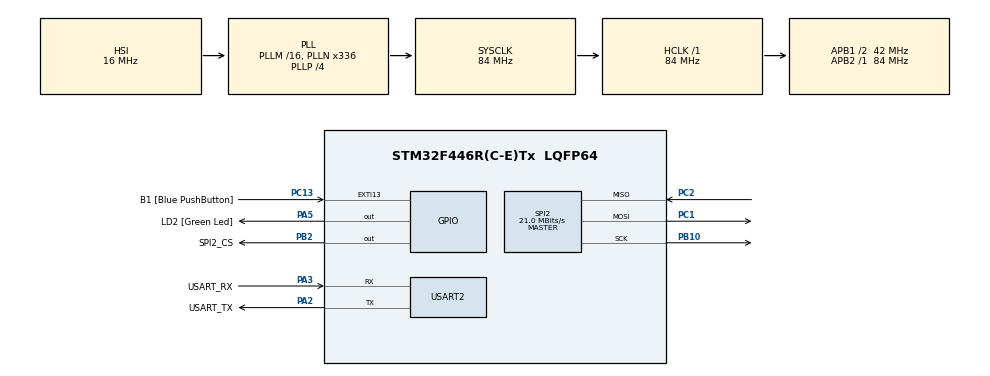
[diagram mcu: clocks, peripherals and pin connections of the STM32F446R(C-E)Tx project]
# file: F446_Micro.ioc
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Mcu.Family=STM32F4
Mcu.Name=STM32F446R(C-E)Tx
Mcu.Package=LQFP64
NVIC.PriorityGroup=NVIC_PRIORITYGROUP_0
NVIC.TIM1_UP_TIM10_IRQn=true\:0\:0\:false\:false\:true\:true\:true
PA13.GPIO_Label=TMS
PA13.Mode=Serial_Wire
PA13.Signal=SYS_JTMS-SWDIO
PA14.GPIO_Label=TCK
PA14.Mode=Serial_Wire
PA14.Signal=SYS_JTCK-SWCLK
PA2.GPIO_Label=USART_TX
PA2.Mode=Asynchronous
PA2.Signal=USART2_TX
PA3.GPIO_Label=USART_RX
PA3.Mode=Asynchronous
PA3.Signal=USART2_RX
PA5.GPIO_Label=LD2 [Green Led]
PA5.Signal=GPIO_Output
PB10.Mode=Full_Duplex_Master
PB10.Signal=SPI2_SCK
PB2.GPIO_Label=SPI2_CS
PB2.PinState=GPIO_PIN_SET
PB2.Signal=GPIO_Output
PB3.GPIO_Label=SWO
PB3.Signal=SYS_JTDO-SWO
PC1.Mode=Full_Duplex_Master
PC1.Signal=SPI2_MOSI
PC13.GPIO_Label=B1 [Blue PushButton]
PC13.GPIO_ModeDefaultEXTI=GPIO_MODE_IT_FALLING
PC13.Signal=GPXTI13
PC14-OSC32_IN.Mode=LSE-External-Oscillator
PC14-OSC32_IN.Signal=RCC_OSC32_IN
PC15-OSC32_OUT.Mode=LSE-External-Oscillator
PC15-OSC32_OUT.Signal=RCC_OSC32_OUT
PC2.GPIO_PuPd=GPIO_PULLUP
PC2.Mode=Full_Duplex_Master
PC2.Signal=SPI2_MISO
PH0-OSC_IN.Mode=HSE-External-Oscillator
PH0-OSC_IN.Signal=RCC_OSC_IN
PH1-OSC_OUT.Mode=HSE-External-Oscillator
PH1-OSC_OUT.Signal=RCC_OSC_OUT
ProjectManager.HeapSize=0x200
ProjectManager.StackSize=0x400
ProjectManager.TargetToolchain=STM32CubeIDE
RCC.48MHZClocksFreq_Value=84000000
RCC.AHBFreq_Value=84000000
RCC.APB1CLKDivider=RCC_HCLK_DIV2
RCC.APB1Freq_Value=42000000
RCC.APB1TimFreq_Value=84000000
RCC.APB2Freq_Value=84000000
RCC.APB2TimFreq_Value=84000000
RCC.CortexFreq_Value=84000000
RCC.FLatency-AdvancedSettings=FLASH_LATENCY_2
RCC.HCLKFreq_Value=84000000
RCC.HSE_VALUE=8000000
RCC.HSI_VALUE=16000000
RCC.PLLN=336
RCC.PLLP=RCC_PLLP_DIV4
RCC.SYSCLKFreq_VALUE=84000000
RCC.SYSCLKSource=RCC_SYSCLKSOURCE_PLLCLK
RCC.USBFreq_Value=168000000
RCC.VCOOutputFreq_Value=336000000
SPI2.CalculateBaudRate=21.0 MBits/s
SPI2.Direction=SPI_DIRECTION_2LINES
SPI2.Mode=SPI_MODE_MASTER
SPI2.VirtualType=VM_MASTER
TIM1.Period=42000
TIM1.Prescaler=9
TIM1.TIM_MasterOutputTrigger=TIM_TRGO_UPDATE
USART2.VirtualMode=VM_ASYNC
VP_TIM1_VS_ClockSourceINT.Mode=Internal
board=NUCLEO-F446RE

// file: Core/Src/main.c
/* USER CODE BEGIN Header */
/**
  ******************************************************************************
  * @file           : main.c
  * @brief          : Main program body
  ******************************************************************************
  * @attention
  *
  * <h2><center>&copy; Copyright (c) 2023 STMicroelectronics.
  * All rights reserved.</center></h2>
  *
  * This software component is licensed by ST under BSD 3-Clause license,
  * the "License"; You may not use this file except in compliance with the
  * License. You may obtain a copy of the License at:
  *                        opensource.org/licenses/BSD-3-Clause
  *
  ******************************************************************************
  */
/* USER CODE END Header */
#include "main.h"

SPI_HandleTypeDef hspi2;

TIM_HandleTypeDef htim1;

UART_HandleTypeDef huart2;

/* USER CODE BEGIN PV */
char formBuf[13];

#define RECV_BUFF_SIZE 80
static char recv_buf[RECV_BUFF_SIZE];

volatile 	int 		Sys_Tick;
char 		*RcvPtr;

uint8_t		sbuf[300], rbuf[300];

/* USER CODE END PV */

void SystemClock_Config(void);
static void MX_GPIO_Init(void);
static void MX_USART2_UART_Init(void);
static void MX_SPI2_Init(void);
static void MX_TIM1_Init(void);

/* USER CODE BEGIN 0 */
uint8_t uartGetchnw(){
  unsigned char c;
  HAL_StatusTypeDef stat;

	stat = HAL_UART_Receive(&huart2, &c, 1, 1);
	if (stat == HAL_OK)
		return c;
	else
		return 0;
}
uint8_t uartGetch(){
	unsigned char c;

	c = 0;
	while (c == 0){
//		if (HAL_GPIO_ReadPin(GPIOA, GPIO_PIN_3)== 0){
//			recv_buf[0]	='S';
//			recv_buf[1]	='X';
//			RcvPtr	= &recv_buf[2];
//			c = 0x0d;
//		}
//		else
			c = uartGetchnw();
	}

	return c;
}
void uartPutch(uint8_t *c){
	  HAL_UART_Transmit( &huart2, c, 1, 100000);
}

void uartPuts( char *s){
	int		num;
	char	*cptr;

	num		= 0;
	cptr	= s;

	while(*cptr != 0){
		cptr++;
		num ++;
	}
	HAL_UART_Transmit( &huart2, (unsigned char *)s, num , 100000);
}

char *formHex(uint32_t n, int dig) {
	static const char hex[] = {
		'0', '1', '2', '3', '4', '5', '6', '7',
		'8', '9', 'A', 'B', 'C', 'D', 'E', 'F'
	};

	formBuf[dig--] = '\0';
	while (dig >= 0) {
		formBuf[dig--] = hex[n &  0xf];
		n >>= 4;
	}
	return formBuf;
}
char		ToUpper(char cc)
{
	char res;

	if ('a'<=cc && cc<='z')
		res = cc + 'A'- 'a';
	else
		res = cc;

	return res;
}

int		Asc2Bin(char cc)
{
	int		ret;

	if(('0' <= cc) && (cc <= '9'))
		ret	= cc - '0';
	else if (('A' <= cc) && (cc <= 'F'))
		ret	= cc - 'A' + 10;
	else
		ret	= -1;

	return ret;
}

int		GetHex(int n)
{
	int	i,ret,wk;

	ret	= 0;
	for (i=0;(i<n) && (ret != -1);i++){
		if (*RcvPtr == 0)
			ret	= -1;
		else {
			wk	= Asc2Bin(*RcvPtr++);
			if (wk == -1)
				ret	= -1;
			else
				ret	= (ret << 4) + wk;
		}
	}
	return	ret;
}

void	HelpMessage()
{
	uartPuts( "\r\nSTM F446 monitor ver 1.00 [Mar.05.2023]");
}

void		SpiTest()
{
	HAL_StatusTypeDef s;
	int		loop;

	s = HAL_SPI_Transmit(&hspi2, sbuf, 10, 1000);		// dummy pulse

	sbuf[0]		= CMD0;
	sbuf[1]		= 0;
	sbuf[2]		= 0;
	sbuf[3]		= 0;
	sbuf[4]		= 0;
	sbuf[5]		= 0x95;		//crc cmd 0

	HAL_GPIO_WritePin(SPI2_CS_GPIO_Port, SPI2_CS_Pin, GPIO_PIN_RESET);
	s = HAL_SPI_TransmitReceive(&hspi2, sbuf, rbuf, 6, 1000);

	loop	= 0;
	HAL_SPI_Receive(&hspi2, rbuf, 1, 1000);
	uartPuts("\r\n");
	while(loop < 100 ){
		loop ++;
		HAL_Delay(10);
		uartPuts(formHex(rbuf[0],2));
		HAL_SPI_Receive(&hspi2, rbuf, 1, 1000);
	}
	HAL_GPIO_WritePin(SPI2_CS_GPIO_Port, SPI2_CS_Pin, GPIO_PIN_SET);

	if (HAL_OK == s)
	{
		uartPuts( "\r\nGood");
	}

	sbuf[0]		= CMD1;
	sbuf[1]		= 0;
	sbuf[2]		= 0;
	sbuf[3]		= 0;
	sbuf[4]		= 0;
	sbuf[5]		= 0x95;		//crc cmd 0

	HAL_GPIO_WritePin(SPI2_CS_GPIO_Port, SPI2_CS_Pin, GPIO_PIN_RESET);
	HAL_SPI_TransmitReceive(&hspi2, sbuf, rbuf, 6, 1000);

	loop	= 0;
	HAL_SPI_Receive(&hspi2, rbuf, 1, 1000);
	uartPuts("\r\n");
	while(loop < 100 ){
		loop ++;
		HAL_Delay(10);
		uartPuts(formHex(rbuf[0],2));
		HAL_SPI_Receive(&hspi2, rbuf, 1, 1000);
	}

	HAL_GPIO_WritePin(SPI2_CS_GPIO_Port, SPI2_CS_Pin, GPIO_PIN_SET);

}

/* USER CODE END 0 */

int main(void)
{

  /* MCU Configuration--------------------------------------------------------*/

  /* Reset of all peripherals, Initializes the Flash interface and the Systick. */
  HAL_Init();

  /* Configure the system clock */
  SystemClock_Config();

  /* Initialize all configured peripherals */
  MX_GPIO_Init();
  MX_USART2_UART_Init();
  MX_SPI2_Init();
  MX_TIM1_Init();
  /* USER CODE BEGIN 2 */
  if(HAL_TIM_Base_Start_IT(&htim1) != HAL_OK){
	  Error_Handler();
  }

  /* USER CODE END 2 */

  /* Infinite loop */
  /* USER CODE BEGIN WHILE */
  while (1)
  {
	  uartPuts( "\r\nCommand:");

		RcvPtr	= recv_buf;
		int Cont	= 1;

		while (Cont){
			*RcvPtr = ToUpper(uartGetch());
			if(*RcvPtr == 0x0d){
				//uartPuts(formHex(*RcvPtr,2));
				//uartPuts( "\r\n\0");
				//int	*Memptr;
				*RcvPtr = 0;
				RcvPtr	= recv_buf;
				Cont	= 0;
				switch (*RcvPtr++){
				//case 'R':
				//	DbgRun();
				//	break;
				case 'H':
					HelpMessage();
					break;
				case 'D':
					uartPuts( "\r\nDebug       : ");
					uartPuts(formHex(Sys_Tick,8));
//					DispStat();
//					uartPuts( "\r\n tim ->  ");
//					uartPuts(formHex(TIM3->CNT,4));
//					uartPuts( "\r\n Measure -> ");
//					uartPuts(formHex(TimInterval,8));
					break;
				case 'T':
					SpiTest();
//	HumiF	= Humi * 100.0 / 65535.0;
//	TempF	= - 45 + 175.0 * Temp / 65535.0;

					break;
				}
			}
			else
				RcvPtr++;
		}
    /* USER CODE END WHILE */

  }
}

void SystemClock_Config(void)
{
  RCC_OscInitTypeDef RCC_OscInitStruct = {0};
  RCC_ClkInitTypeDef RCC_ClkInitStruct = {0};

  /** Configure the main internal regulator output voltage
  */
  __HAL_RCC_PWR_CLK_ENABLE();
  __HAL_PWR_VOLTAGESCALING_CONFIG(PWR_REGULATOR_VOLTAGE_SCALE3);
  /** Initializes the RCC Oscillators according to the specified parameters
  * in the RCC_OscInitTypeDef structure.
  */
  RCC_OscInitStruct.OscillatorType = RCC_OSCILLATORTYPE_HSI;
  RCC_OscInitStruct.HSIState = RCC_HSI_ON;
  RCC_OscInitStruct.HSICalibrationValue = RCC_HSICALIBRATION_DEFAULT;
  RCC_OscInitStruct.PLL.PLLState = RCC_PLL_ON;
  RCC_OscInitStruct.PLL.PLLSource = RCC_PLLSOURCE_HSI;
  RCC_OscInitStruct.PLL.PLLM = 16;
  RCC_OscInitStruct.PLL.PLLN = 336;
  RCC_OscInitStruct.PLL.PLLP = RCC_PLLP_DIV4;
  RCC_OscInitStruct.PLL.PLLQ = 2;
  RCC_OscInitStruct.PLL.PLLR = 2;
  if (HAL_RCC_OscConfig(&RCC_OscInitStruct) != HAL_OK)
  {
    Error_Handler();
  }
  /** Initializes the CPU, AHB and APB buses clocks
  */
  RCC_ClkInitStruct.ClockType = RCC_CLOCKTYPE_HCLK|RCC_CLOCKTYPE_SYSCLK
                              |RCC_CLOCKTYPE_PCLK1|RCC_CLOCKTYPE_PCLK2;
  RCC_ClkInitStruct.SYSCLKSource = RCC_SYSCLKSOURCE_PLLCLK;
  RCC_ClkInitStruct.AHBCLKDivider = RCC_SYSCLK_DIV1;
  RCC_ClkInitStruct.APB1CLKDivider = RCC_HCLK_DIV2;
  RCC_ClkInitStruct.APB2CLKDivider = RCC_HCLK_DIV1;

  if (HAL_RCC_ClockConfig(&RCC_ClkInitStruct, FLASH_LATENCY_2) != HAL_OK)
  {
    Error_Handler();
  }
}

static void MX_SPI2_Init(void)
{

  /* SPI2 parameter configuration*/
  hspi2.Instance = SPI2;
  hspi2.Init.Mode = SPI_MODE_MASTER;
  hspi2.Init.Direction = SPI_DIRECTION_2LINES;
  hspi2.Init.DataSize = SPI_DATASIZE_8BIT;
  hspi2.Init.CLKPolarity = SPI_POLARITY_LOW;
  hspi2.Init.CLKPhase = SPI_PHASE_1EDGE;
  hspi2.Init.NSS = SPI_NSS_SOFT;
  hspi2.Init.BaudRatePrescaler = SPI_BAUDRATEPRESCALER_2;
  hspi2.Init.FirstBit = SPI_FIRSTBIT_MSB;
  hspi2.Init.TIMode = SPI_TIMODE_DISABLE;
  hspi2.Init.CRCCalculation = SPI_CRCCALCULATION_DISABLE;
  hspi2.Init.CRCPolynomial = 10;
  if (HAL_SPI_Init(&hspi2) != HAL_OK)
  {
    Error_Handler();
  }

}

static void MX_TIM1_Init(void)
{

  TIM_ClockConfigTypeDef sClockSourceConfig = {0};
  TIM_MasterConfigTypeDef sMasterConfig = {0};

  htim1.Instance = TIM1;
  htim1.Init.Prescaler = 9;
  htim1.Init.CounterMode = TIM_COUNTERMODE_UP;
  htim1.Init.Period = 42000;
  htim1.Init.ClockDivision = TIM_CLOCKDIVISION_DIV1;
  htim1.Init.RepetitionCounter = 0;
  htim1.Init.AutoReloadPreload = TIM_AUTORELOAD_PRELOAD_DISABLE;
  if (HAL_TIM_Base_Init(&htim1) != HAL_OK)
  {
    Error_Handler();
  }
  sClockSourceConfig.ClockSource = TIM_CLOCKSOURCE_INTERNAL;
  if (HAL_TIM_ConfigClockSource(&htim1, &sClockSourceConfig) != HAL_OK)
  {
    Error_Handler();
  }
  sMasterConfig.MasterOutputTrigger = TIM_TRGO_UPDATE;
  sMasterConfig.MasterSlaveMode = TIM_MASTERSLAVEMODE_DISABLE;
  if (HAL_TIMEx_MasterConfigSynchronization(&htim1, &sMasterConfig) != HAL_OK)
  {
    Error_Handler();
  }

}

static void MX_USART2_UART_Init(void)
{

  huart2.Instance = USART2;
  huart2.Init.BaudRate = 115200;
  huart2.Init.WordLength = UART_WORDLENGTH_8B;
  huart2.Init.StopBits = UART_STOPBITS_1;
  huart2.Init.Parity = UART_PARITY_NONE;
  huart2.Init.Mode = UART_MODE_TX_RX;
  huart2.Init.HwFlowCtl = UART_HWCONTROL_NONE;
  huart2.Init.OverSampling = UART_OVERSAMPLING_16;
  if (HAL_UART_Init(&huart2) != HAL_OK)
  {
    Error_Handler();
  }

}

static void MX_GPIO_Init(void)
{
  GPIO_InitTypeDef GPIO_InitStruct = {0};

  /* GPIO Ports Clock Enable */
  __HAL_RCC_GPIOC_CLK_ENABLE();
  __HAL_RCC_GPIOH_CLK_ENABLE();
  __HAL_RCC_GPIOA_CLK_ENABLE();
  __HAL_RCC_GPIOB_CLK_ENABLE();

  /*Configure GPIO pin Output Level */
  HAL_GPIO_WritePin(LD2_GPIO_Port, LD2_Pin, GPIO_PIN_RESET);

  /*Configure GPIO pin Output Level */
  HAL_GPIO_WritePin(SPI2_CS_GPIO_Port, SPI2_CS_Pin, GPIO_PIN_SET);

  /*Configure GPIO pin : B1_Pin */
  GPIO_InitStruct.Pin = B1_Pin;
  GPIO_InitStruct.Mode = GPIO_MODE_IT_FALLING;
  GPIO_InitStruct.Pull = GPIO_NOPULL;
  HAL_GPIO_Init(B1_GPIO_Port, &GPIO_InitStruct);

  /*Configure GPIO pin : LD2_Pin */
  GPIO_InitStruct.Pin = LD2_Pin;
  GPIO_InitStruct.Mode = GPIO_MODE_OUTPUT_PP;
  GPIO_InitStruct.Pull = GPIO_NOPULL;
  GPIO_InitStruct.Speed = GPIO_SPEED_FREQ_LOW;
  HAL_GPIO_Init(LD2_GPIO_Port, &GPIO_InitStruct);

  /*Configure GPIO pin : SPI2_CS_Pin */
  GPIO_InitStruct.Pin = SPI2_CS_Pin;
  GPIO_InitStruct.Mode = GPIO_MODE_OUTPUT_PP;
  GPIO_InitStruct.Pull = GPIO_NOPULL;
  GPIO_InitStruct.Speed = GPIO_SPEED_FREQ_LOW;
  HAL_GPIO_Init(SPI2_CS_GPIO_Port, &GPIO_InitStruct);

}

/* USER CODE BEGIN 4 */
void HAL_TIM_PeriodElapsedCallback(TIM_HandleTypeDef *htim)
{
	//		1kHz layer

	if (htim->Instance == htim1.Instance) {
		if ((Sys_Tick & 0x7f) == 0)
			HAL_GPIO_TogglePin(LD2_GPIO_Port, LD2_Pin);

		Sys_Tick ++;
	}

}

/* USER CODE END 4 */

void Error_Handler(void)
{
  __disable_irq();
  while (1)
  {
  }
}

/************************ (C) COPYRIGHT STMicroelectronics *****END OF FILE****/
